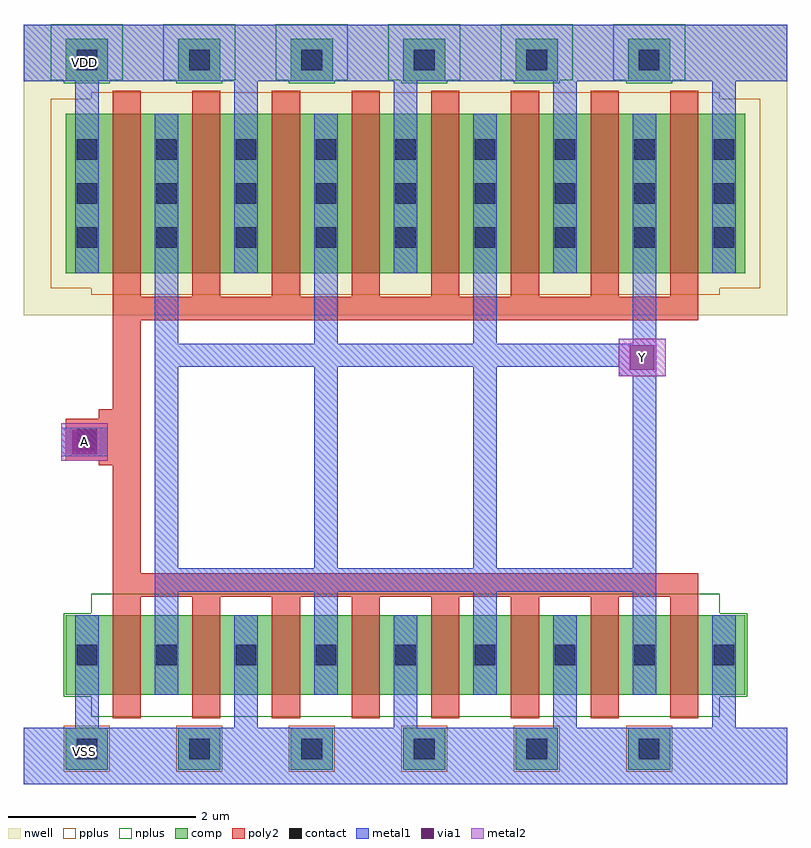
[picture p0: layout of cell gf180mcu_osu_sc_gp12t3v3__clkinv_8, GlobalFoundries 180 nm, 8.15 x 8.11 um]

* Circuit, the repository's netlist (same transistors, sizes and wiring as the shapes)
* Copyright 2022 Google LLC
*
* Licensed under the Apache License, Version 2.0 (the "License");
* you may not use this file except in compliance with the License.
* You may obtain a copy of the License at
*
*      http://www.apache.org/licenses/LICENSE-2.0
*
* Unless required by applicable law or agreed to in writing, software
* distributed under the License is distributed on an "AS IS" BASIS,
* WITHOUT WARRANTIES OR CONDITIONS OF ANY KIND, either express or implied.
* See the License for the specific language governing permissions and
* limitations under the License.

.inc "/import/yukari1/lrburle/OSU_180/char/techfiles/design.hspice"
.lib "/import/yukari1/lrburle/OSU_180/char/techfiles/sm141064.hspice" typical

.GLOBAL VDD
.GLOBAL VSS

.option scale=0.05u

.subckt gf180mcu_osu_sc_gp12t3v3__clkinv_8 A Y
X0 VDD A Y VDD pmos_3p3 w=34 l=6
X1 VDD A Y VDD pmos_3p3 w=34 l=6
X2 Y A VDD VDD pmos_3p3 w=34 l=6
X3 Y A VDD VDD pmos_3p3 w=34 l=6
X4 VDD A Y VDD pmos_3p3 w=34 l=6
X5 VSS A Y VSS nmos_3p3 w=17 l=6
X6 Y A VDD VDD pmos_3p3 w=34 l=6
X7 Y A VSS VSS nmos_3p3 w=17 l=6
X8 Y A VSS VSS nmos_3p3 w=17 l=6
X9 Y A VSS VSS nmos_3p3 w=17 l=6
X10 Y A VSS VSS nmos_3p3 w=17 l=6
X11 VSS A Y VSS nmos_3p3 w=17 l=6
X12 VSS A Y VSS nmos_3p3 w=17 l=6
X13 VSS A Y VSS nmos_3p3 w=17 l=6
X14 Y A VDD VDD pmos_3p3 w=34 l=6
X15 VDD A Y VDD pmos_3p3 w=34 l=6
.ends

** hspice subcircuit dictionary

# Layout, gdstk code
import gdstk
lib = gdstk.Library(unit=1e-6, precision=1e-09)
def R(c, l, rs):  # rectangles x0, y0, x1, y1
    for r in rs: c.add(gdstk.rectangle(r[:2], r[2:], *l))
def A(c, l, x, y, w, h, nx, ny, dx, dy):  # array of equal rectangles
    R(c, l, [(x+i*dx, y+j*dy, x+i*dx+w, y+j*dy+h) for i in range(nx) for j in range(ny)])
nwell = (21, 0)
comp = (22, 0)
poly2 = (30, 0)
pplus = (31, 0)
nplus = (32, 0)
contact = (33, 0)
metal1 = (34, 0)
via1 = (35, 0)
metal2 = (36, 0)

gf180mcu_osu_sc_gp12t3v3 = lib.new_cell('gf180mcu_osu_sc_gp12t3v3__clkinv_8')
R(gf180mcu_osu_sc_gp12t3v3, nwell, [(0,5,8.15,8.1)])
A(gf180mcu_osu_sc_gp12t3v3, comp, 0.45, 0.15, 0.45, 0.45, 6, 2, 1.2, 7.35)
R(gf180mcu_osu_sc_gp12t3v3, comp, [(0.45,0.95,7.7,1.8), (0.45,5.45,7.7,7.15)])
A(gf180mcu_osu_sc_gp12t3v3, poly2, 0.95, 0.7, 0.3, 1.3, 8, 1, 0.85, 0)
A(gf180mcu_osu_sc_gp12t3v3, poly2, 0.95, 5.2, 0.3, 2.2, 8, 1, 0.85, 0)
R(gf180mcu_osu_sc_gp12t3v3, poly2, [(0.95,2,7.2,2.25), (0.95,2.25,1.25,3.4), (0.8,3.4,1.25,3.45), (0.45,3.45,1.25,3.9), (0.8,3.9,1.25,4), (0.95,4,1.25,4.95), (0.95,4.95,7.2,5.2)])
A(gf180mcu_osu_sc_gp12t3v3, pplus, 0.43, 0.13, 0.49, 0.49, 6, 1, 1.2, 0)
R(gf180mcu_osu_sc_gp12t3v3, pplus, [(0.72,5.22,7.43,5.29), (0.29,5.29,7.86,7.31), (0.72,7.31,7.43,7.38)])
A(gf180mcu_osu_sc_gp12t3v3, nplus, 0.43, 7.48, 0.49, 0.03, 6, 1, 1.2, 0)
A(gf180mcu_osu_sc_gp12t3v3, nplus, 0.29, 7.51, 0.77, 0.6, 6, 1, 1.2, 0)
R(gf180mcu_osu_sc_gp12t3v3, nplus, [(0.72,0.72,7.43,0.93), (0.43,0.93,7.72,1.82), (0.72,1.82,7.43,2.03)])
A(gf180mcu_osu_sc_gp12t3v3, contact, 0.565, 0.265, 0.22, 0.22, 6, 2, 1.2, 7.35)
A(gf180mcu_osu_sc_gp12t3v3, contact, 0.565, 1.265, 0.22, 0.22, 9, 2, 0.85, 4.455)
A(gf180mcu_osu_sc_gp12t3v3, contact, 0.565, 6.19, 0.22, 0.22, 9, 2, 0.85, 0.47)
R(gf180mcu_osu_sc_gp12t3v3, contact, [(0.565,3.565,0.785,3.785)])
A(gf180mcu_osu_sc_gp12t3v3, metal1, 0.55, 0.6, 0.25, 1.2, 5, 1, 1.7, 0)
A(gf180mcu_osu_sc_gp12t3v3, metal1, 1.4, 0.95, 0.25, 1.1, 4, 1, 1.7, 0)
A(gf180mcu_osu_sc_gp12t3v3, metal1, 1.4, 2.3, 0.25, 2.15, 3, 1, 1.7, 0)
A(gf180mcu_osu_sc_gp12t3v3, metal1, 1.4, 4.7, 0.25, 2.45, 4, 1, 1.7, 0)
A(gf180mcu_osu_sc_gp12t3v3, metal1, 0.55, 5.45, 0.25, 2.05, 5, 1, 1.7, 0)
R(gf180mcu_osu_sc_gp12t3v3, metal1, [(0,0,8.15,0.6), (1.4,2.05,6.75,2.3), (6.5,2.3,6.75,4.35), (0.4,3.5,0.9,3.8), (6.35,4.35,6.75,4.45), (1.4,4.45,6.75,4.7), (0,7.5,8.15,8.1)])
R(gf180mcu_osu_sc_gp12t3v3, via1, [(0.52,3.52,0.78,3.78), (6.47,4.42,6.73,4.68)])
R(gf180mcu_osu_sc_gp12t3v3, metal2, [(0.4,3.45,0.9,3.85), (6.35,4.35,6.85,4.75)])
gf180mcu_osu_sc_gp12t3v3.add(gdstk.Label('VDD', (0.65,7.7), layer=34, texttype=0))
gf180mcu_osu_sc_gp12t3v3.add(gdstk.Label('VSS', (0.65,0.35), layer=34, texttype=0))
gf180mcu_osu_sc_gp12t3v3.add(gdstk.Label('A', (0.65,3.65), layer=36, texttype=10))
gf180mcu_osu_sc_gp12t3v3.add(gdstk.Label('Y', (6.6,4.55), layer=36, texttype=10))

lib.write_gds('gf180mcu_osu_sc_gp12t3v3__clkinv_8.gds')
